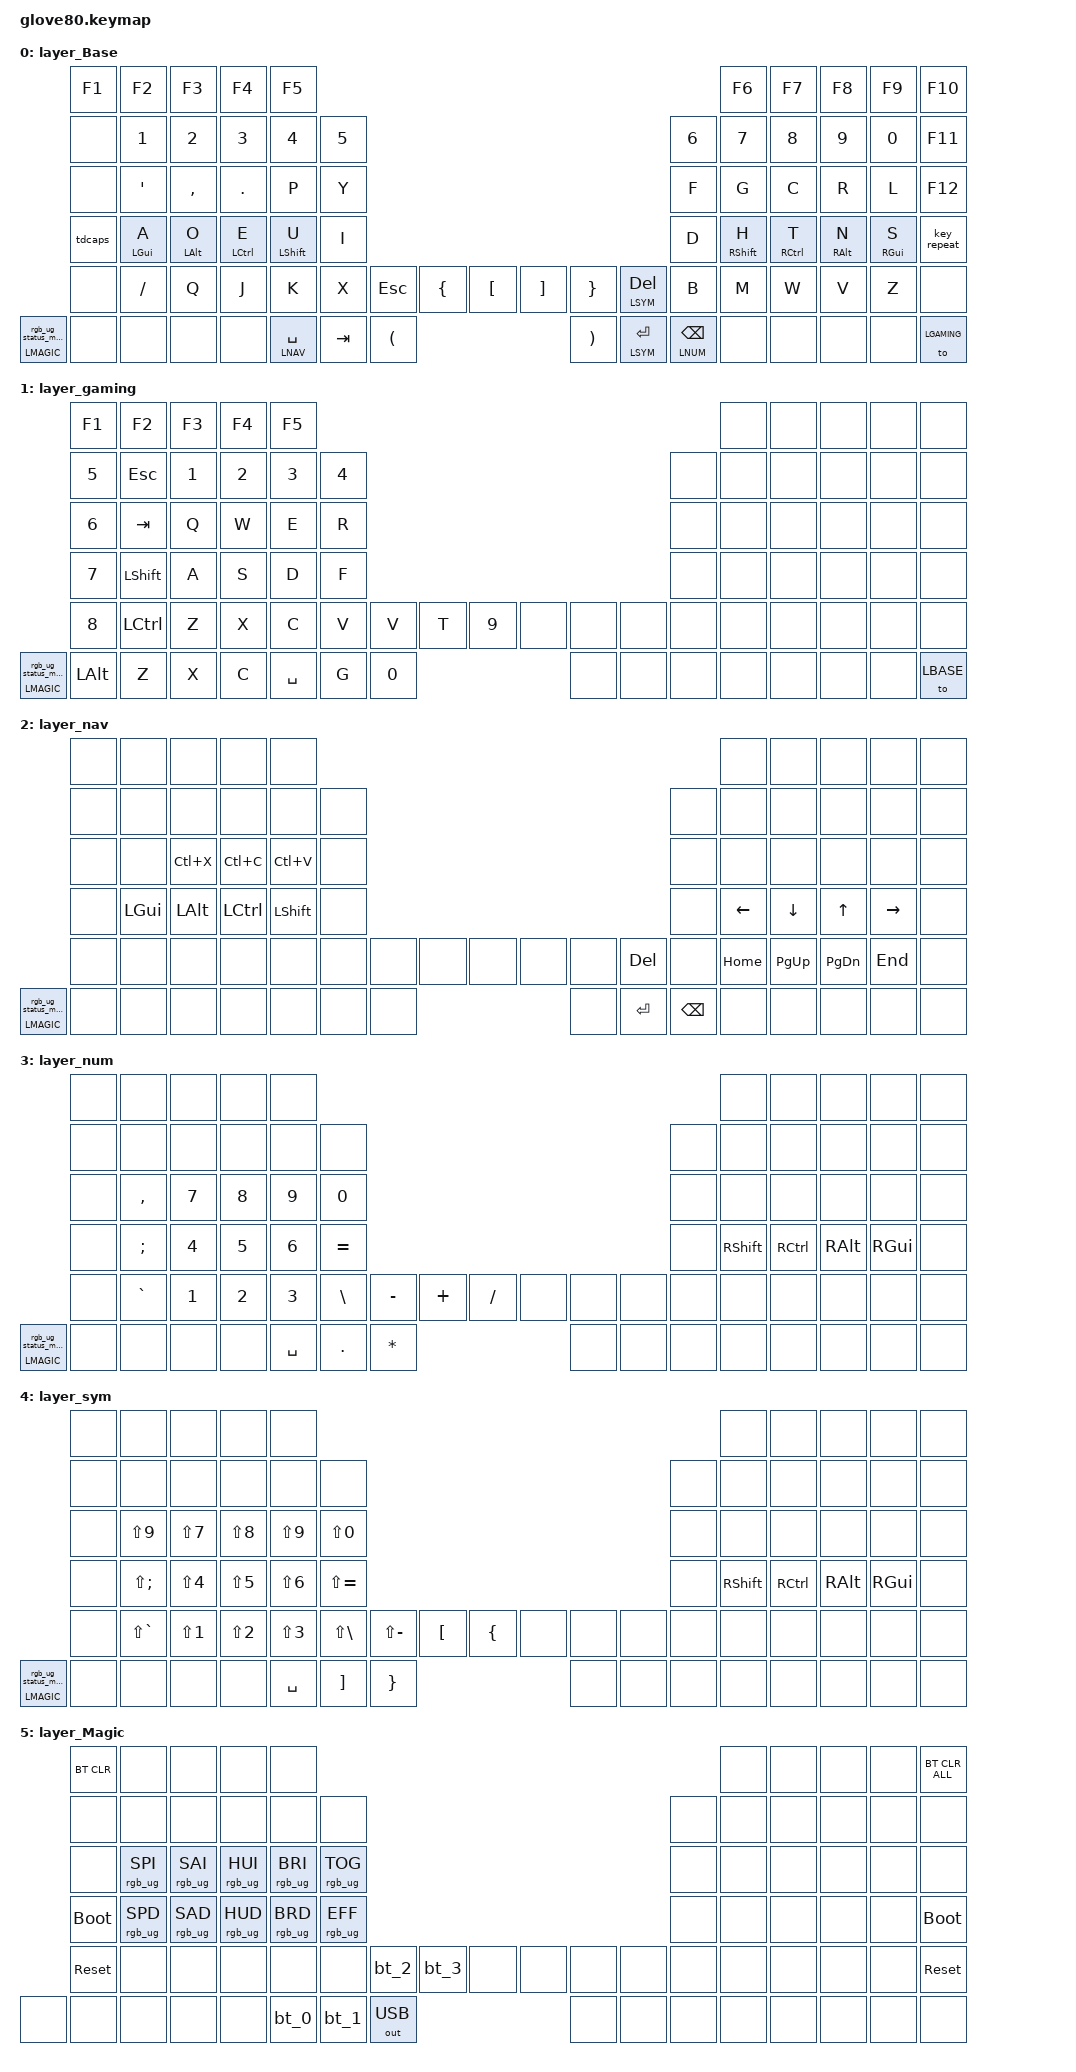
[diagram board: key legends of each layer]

/*
 * Copyright (c) 2020 The ZMK Contributors
 * Copyright (c) 2023 Innaworks Development Limited, trading as MoErgo
 *
 * SPDX-License-Identifier: MIT
 */


/* THIS FILE WAS GENERATED BY GLOVE80 LAYOUT EDITOR
 *
 * This file was generated automatically. You may or may not want to
 * edit it directly. (I do)
 */

#include <behaviors.dtsi>
/* Include all behaviour includes needed */
#include <dt-bindings/zmk/outputs.h>
#include <dt-bindings/zmk/keys.h>
#include <dt-bindings/zmk/bt.h>
#include <dt-bindings/zmk/rgb.h>

/* Automatically generated layer name #define */
#define LBASE 0
#define LGAMING 1
#define LNAV 2
#define LNUM 3
#define LSYM 4
#define LMAGIC 5
// #define LMOUSE 3
// #define LMEDIA 4
// #define LFUNC 7

/* Custom Device-tree */
/* Glove80 system behavior & macros */
/ {
    macros {
        rgb_ug_status_macro: rgb_ug_status_macro {
            label = "RGB_UG_STATUS";
            compatible = "zmk,behavior-macro";
            #binding-cells = <0>;
            bindings
                = <&rgb_ug RGB_STATUS>;
        };
    };
};


/ {
#ifdef BT_DISC_CMD
    behaviors {
        bt_0: bt_0 {
            compatible = "zmk,behavior-tap-dance";
            label = "BT_0";
            #binding-cells = <0>;
            tapping-term-ms = <200>;
            bindings = <&bt_select_0>, <&bt BT_DISC 0>;
        };
        bt_1: bt_1 {
            compatible = "zmk,behavior-tap-dance";
            label = "BT_1";
            #binding-cells = <0>;
            tapping-term-ms = <200>;
            bindings = <&bt_select_1>, <&bt BT_DISC 1>;
        };
        bt_2: bt_2 {
            compatible = "zmk,behavior-tap-dance";
            label = "BT_2";
            #binding-cells = <0>;
            tapping-term-ms = <200>;
            bindings = <&bt_select_2>, <&bt BT_DISC 2>;
        };
        bt_3: bt_3 {
            compatible = "zmk,behavior-tap-dance";
            label = "BT_3";
            #binding-cells = <0>;
            tapping-term-ms = <200>;
            bindings = <&bt_select_3>, <&bt BT_DISC 3>;
        };
    };
    macros {
        bt_select_0: bt_select_0 {
            label = "BT_SELECT_0";
            compatible = "zmk,behavior-macro";
            #binding-cells = <0>;
            bindings
                = <&out OUT_BLE>,
                  <&bt BT_SEL 0>;
        };
        bt_select_1: bt_select_1 {
            label = "BT_SELECT_1";
            compatible = "zmk,behavior-macro";
            #binding-cells = <0>;
            bindings
                = <&out OUT_BLE>,
                  <&bt BT_SEL 1>;
        };
        bt_select_2: bt_select_2 {
            label = "BT_SELECT_2";
            compatible = "zmk,behavior-macro";
            #binding-cells = <0>;
            bindings
                = <&out OUT_BLE>,
                  <&bt BT_SEL 2>;
        };
        bt_select_3: bt_select_3 {
            label = "BT_SELECT_3";
            compatible = "zmk,behavior-macro";
            #binding-cells = <0>;
            bindings
                = <&out OUT_BLE>,
                  <&bt BT_SEL 3>;
        };
    };
#else
    macros {
        bt_0: bt_0 {
            label = "BT_0";
            compatible = "zmk,behavior-macro";
            #binding-cells = <0>;
            bindings
                = <&out OUT_BLE>,
                  <&bt BT_SEL 0>;
        };
        bt_1: bt_1 {
            label = "BT_1";
            compatible = "zmk,behavior-macro";
            #binding-cells = <0>;
            bindings
                = <&out OUT_BLE>,
                  <&bt BT_SEL 1>;
        };
        bt_2: bt_2 {
            label = "BT_2";
            compatible = "zmk,behavior-macro";
            #binding-cells = <0>;
            bindings
                = <&out OUT_BLE>,
                  <&bt BT_SEL 2>;
        };
        bt_3: bt_3 {
            label = "BT_3";
            compatible = "zmk,behavior-macro";
            #binding-cells = <0>;
            bindings
                = <&out OUT_BLE>,
                  <&bt BT_SEL 3>;
        };
    };
#endif
};

/ {
    behaviors {
        magic: magic {
            compatible = "zmk,behavior-hold-tap";
            label = "MAGIC_HOLD_TAP";
            #binding-cells = <2>;
            flavor = "tap-preferred";
            tapping-term-ms = <200>;
            bindings = <&mo>, <&rgb_ug_status_macro>;
        };
    };
};

/* #define for key positions */
#define POS_LH_T1 52
#define POS_LH_T2 53
#define POS_LH_T3 54
#define POS_LH_T4 69
#define POS_LH_T5 70
#define POS_LH_T6 71
#define POS_LH_C1R2 15
#define POS_LH_C1R3 27
#define POS_LH_C1R4 39
#define POS_LH_C1R5 51
#define POS_LH_C2R1 4
#define POS_LH_C2R2 14
#define POS_LH_C2R3 26
#define POS_LH_C2R4 38
#define POS_LH_C2R5 50
#define POS_LH_C2R6 68
#define POS_LH_C3R1 3
#define POS_LH_C3R2 13
#define POS_LH_C3R3 25
#define POS_LH_C3R4 37
#define POS_LH_C3R5 49
#define POS_LH_C3R6 67
#define POS_LH_C4R1 2
#define POS_LH_C4R2 12
#define POS_LH_C4R3 24
#define POS_LH_C4R4 36
#define POS_LH_C4R5 48
#define POS_LH_C4R6 66
#define POS_LH_C5R1 1
#define POS_LH_C5R2 11
#define POS_LH_C5R3 23
#define POS_LH_C5R4 35
#define POS_LH_C5R5 47
#define POS_LH_C5R6 65
#define POS_LH_C6R1 0
#define POS_LH_C6R2 10
#define POS_LH_C6R3 22
#define POS_LH_C6R4 34
#define POS_LH_C6R5 46
#define POS_LH_C6R6 64
#define POS_RH_T1 57
#define POS_RH_T2 56
#define POS_RH_T3 55
#define POS_RH_T4 74
#define POS_RH_T5 73
#define POS_RH_T6 72
#define POS_RH_C1R2 16
#define POS_RH_C1R3 28
#define POS_RH_C1R4 40
#define POS_RH_C1R5 58
#define POS_RH_C2R1 5
#define POS_RH_C2R2 17
#define POS_RH_C2R3 29
#define POS_RH_C2R4 41
#define POS_RH_C2R5 59
#define POS_RH_C2R6 75
#define POS_RH_C3R1 6
#define POS_RH_C3R2 18
#define POS_RH_C3R3 30
#define POS_RH_C3R4 42
#define POS_RH_C3R5 60
#define POS_RH_C3R6 76
#define POS_RH_C4R1 7
#define POS_RH_C4R2 19
#define POS_RH_C4R3 31
#define POS_RH_C4R4 43
#define POS_RH_C4R5 61
#define POS_RH_C4R6 77
#define POS_RH_C5R1 8
#define POS_RH_C5R2 20
#define POS_RH_C5R3 32
#define POS_RH_C5R4 44
#define POS_RH_C5R5 62
#define POS_RH_C5R6 78
#define POS_RH_C6R1 9
#define POS_RH_C6R2 21
#define POS_RH_C6R3 33
#define POS_RH_C6R4 45
#define POS_RH_C6R5 63
#define POS_RH_C6R6 79

#define LEFT_HAND_KEYS                                \
      0  1  2  3  4                                  \
     10 11 12 13 14 15                               \
     22 23 24 25 26 27                               \
     34 35 36 37 38 39                               \
     46 47 48 49 50 51                               \
     64 65 66 67 68
#define RIGHT_HAND_KEYS                              \
                                       5  6  7  8  9 \
                                   16 17 18 19 20 21 \
                                   28 29 30 31 32 33 \
                                   40 41 42 43 44 45 \
                                   58 59 60 61 62 63 \
                                      75 76 77 78 79
#define THUMB_KEYS                                   \
                    69 52       57 74                \
                     70 53     56 73                 \
                      71 54   55 72

    /* Custom Defined Behaviors */
/ {
    behaviors {
        hrm_i: hrm_i {
            compatible = "zmk,behavior-hold-tap";
            label = "HRM_I";
            #binding-cells = <2>;
            flavor = "balanced";
            tapping-term-ms = <200>;
            quick-tap-ms = <200>;
            bindings = <&kp>, <&kp>;
        };

        hrm: hrm {
            compatible = "zmk,behavior-hold-tap";
            label = "HRM";
            #binding-cells = <2>;
            flavor = "tap-preferred";
            tapping-term-ms = <200>;
            quick-tap-ms = <200>;
            require-prior-idle-ms = <100>;
            bindings = <&kp>, <&kp>;
        };

        ltp: ltp {
            compatible = "zmk,behavior-hold-tap";
            label = "LTP";
            #binding-cells = <2>;
            flavor = "balanced";
            tapping-term-ms = <200>;
            bindings = <&mo>, <&kp>;
        };

        tdcaps: tdcaps {
            compatible = "zmk,behavior-tap-dance";
            label = "TDCAPS";
            #binding-cells = <0>;
            tapping-term-ms = <200>;
            bindings = <&caps_word>, <&kp CAPS>;
        };
    }; 
};

    /* Automatically generated keymap */
/ {
    keymap {
        compatible = "zmk,keymap";


        layer_Base {
            bindings = <
               &kp F1          &kp F2           &kp F3           &kp F4              &kp F5                                                                                                               &kp F6           &kp F7          &kp F8          &kp F9       &kp F10
                &none          &kp N1           &kp N2           &kp N3              &kp N4  &kp N5                                                                                      &kp N6           &kp N7           &kp N8          &kp N9          &kp N0       &kp F11
                &none         &kp SQT        &kp COMMA          &kp DOT               &kp P   &kp Y                                                                                       &kp F            &kp G            &kp C           &kp R           &kp L       &kp F12
              &tdcaps     &hrm LGUI A      &hrm LALT O     &hrm LCTRL E      &hrm_i LSHFT U   &kp I                                                                                       &kp D   &hrm_i RSHFT H     &hrm RCTRL T     &hrm RALT N     &hrm RGUI S   &key_repeat
                &none       &kp SLASH            &kp Q            &kp J               &kp K   &kp X           &kp ESC &kp LBRC &kp LBKT      &kp RBKT      &kp RBRC  &ltp LSYM DEL        &kp B            &kp M            &kp W           &kp V           &kp Z         &none
       &magic LMAGIC 0          &none            &none            &none               &none           &ltp LNAV SPACE  &kp TAB &kp LPAR      &kp RPAR &ltp LSYM RET &ltp LNUM BSPC                         &none            &none           &none           &none   &to LGAMING
            >;
        };

        layer_gaming {
            bindings = <
                &kp F1     &kp F2  &kp F3 &kp F4 &kp F5                                                                    &none  &none  &none  &none  &none
                &kp N5    &kp ESC  &kp N1 &kp N2 &kp N3 &kp N4                                                      &none  &none  &none  &none  &none  &none
                &kp N6    &kp TAB  &kp Q  &kp W  &kp E   &kp R                                                      &none  &none  &none  &none  &none  &none
                &kp N7  &kp LSHFT  &kp A  &kp S  &kp D   &kp F                                                      &none  &none  &none  &none  &none  &none
                &kp N8  &kp LCTRL  &kp Z  &kp X  &kp C   &kp V         &kp V  &kp T  &kp N9 &none  &none  &none     &none  &none  &none  &none  &none  &none
       &magic LMAGIC 0   &kp LALT  &kp Z  &kp X  &kp C             &kp SPACE  &kp G  &kp N0 &none  &none  &none            &none  &none  &none  &none  &to LBASE
            >;
        };
        layer_nav {
            bindings = <
                &none    &none     &none     &none     &none                                                                        &none     &none     &none      &none  &none
                &none    &none     &none     &none     &none  &none                                                       &none     &none     &none     &none      &none  &none
                &none    &none &kp LC(X) &kp LC(C) &kp LC(V)  &none                                                       &none     &none     &none     &none      &none  &none
                &none &kp LGUI  &kp LALT &kp LCTRL &kp LSHFT  &none                                                       &none  &kp LEFT  &kp DOWN    &kp UP  &kp RIGHT  &none
                &none    &none     &none     &none     &none  &none     &none  &none  &none  &none    &none   &kp DEL     &none  &kp HOME &kp PG_UP &kp PG_DN    &kp END  &none
       &magic LMAGIC 0   &none     &none     &none     &none            &none  &none  &none  &none  &kp RET  &kp BSPC               &none     &none     &none      &none  &none
            >;
        };
        layer_num {
            bindings = <
                &none     &none   &none  &none  &none                                                                               &none     &none    &none    &none  &none
                &none     &none   &none  &none  &none  &none                                                              &none     &none     &none    &none    &none  &none
                &none &kp COMMA  &kp N7 &kp N8 &kp N9  &kp N0                                                             &none     &none     &none    &none    &none  &none
                &none  &kp SEMI  &kp N4 &kp N5 &kp N6  &kp EQUAL                                                          &none &kp RSHFT &kp RCTRL &kp RALT &kp RGUI  &none
                &none &kp GRAVE  &kp N1 &kp N2 &kp N3  &kp BSLH  &kp MINUS  &kp PLUS  &kp FSLH    &none  &none  &none     &none     &none     &none    &none    &none  &none
       &magic LMAGIC 0    &none   &none  &none  &none            &kp SPACE   &kp DOT  &kp STAR    &none  &none  &none               &none     &none    &none    &none  &none
            >;
        };

        layer_sym {
            bindings = <
                &none         &none       &none      &none      &none                                                                                    &none     &none    &none    &none  &none
                &none         &none       &none      &none      &none       &none                                                              &none     &none     &none    &none    &none  &none
                &none    &kp LS(N9)  &kp LS(N7) &kp LS(N8) &kp LS(N9)  &kp LS(N0)                                                              &none     &none     &none    &none    &none  &none
                &none  &kp LS(SEMI)  &kp LS(N4) &kp LS(N5) &kp LS(N6)  &kp LS(EQUAL)                                                           &none &kp RSHFT &kp RCTRL &kp RALT &kp RGUI  &none
                &none &kp LS(GRAVE)  &kp LS(N1) &kp LS(N2) &kp LS(N3)  &kp LS(BSLH) &kp LS(MINUS) &kp LBKT &kp LBRC    &none  &none  &none     &none     &none     &none    &none    &none  &none
       &magic LMAGIC 0        &none       &none      &none      &none                   &kp SPACE &kp RBKT &kp RBRC    &none  &none  &none               &none     &none    &none    &none  &none
            >;
        };
        layer_Magic {
            bindings = <
  &bt BT_CLR            &none            &none            &none            &none                                                                                  &none   &none   &none   &none  &bt BT_CLR_ALL
       &none            &none            &none            &none            &none            &none                                                         &none   &none   &none   &none   &none           &none
       &none  &rgb_ug RGB_SPI  &rgb_ug RGB_SAI  &rgb_ug RGB_HUI  &rgb_ug RGB_BRI  &rgb_ug RGB_TOG                                                         &none   &none   &none   &none   &none           &none
 &bootloader  &rgb_ug RGB_SPD  &rgb_ug RGB_SAD  &rgb_ug RGB_HUD  &rgb_ug RGB_BRD  &rgb_ug RGB_EFF                                                         &none   &none   &none   &none   &none     &bootloader
  &sys_reset            &none            &none            &none            &none            &none   &bt_2   &bt_3         &none   &none   &none   &none   &none   &none   &none   &none   &none      &sys_reset
       &none            &none            &none            &none            &none                    &bt_0   &bt_1  &out OUT_USB   &none   &none   &none           &none   &none   &none   &none           &none
            >;
        };

    };
};
